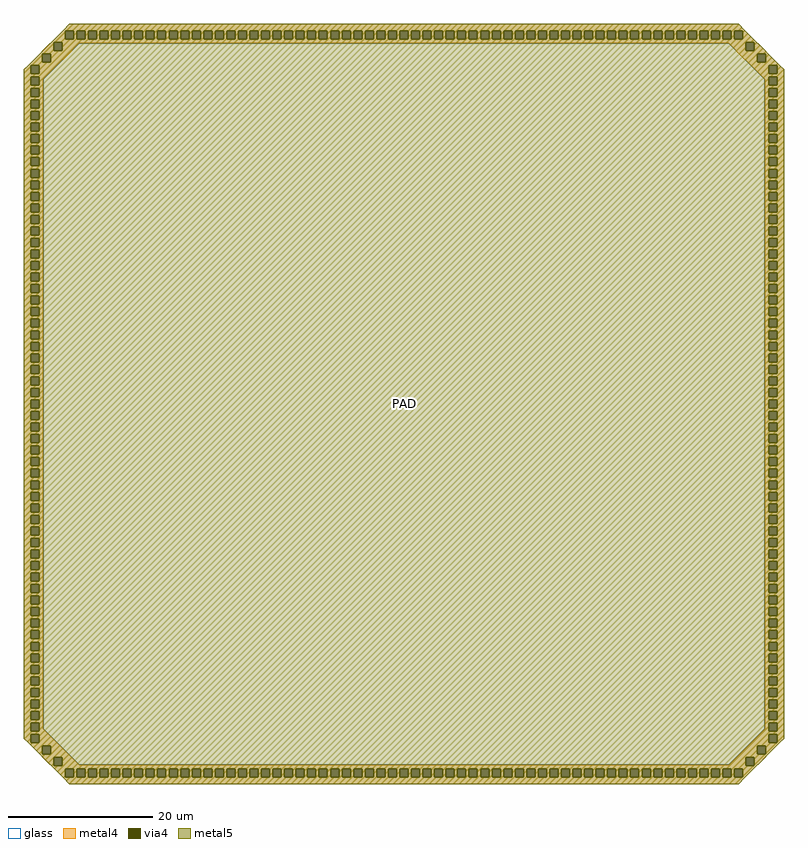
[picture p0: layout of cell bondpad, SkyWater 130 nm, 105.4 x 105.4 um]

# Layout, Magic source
magic
tech sky130A
<< metal4 >>
tri 269 10179 360 10270 se
rect 360 10179 9640 10270
tri 9640 10179 9731 10270 sw
tri 135 10045 269 10179 se
rect 269 10061 301 10179
rect 419 10061 461 10179
rect 579 10061 621 10179
rect 739 10061 781 10179
rect 899 10061 941 10179
rect 1059 10061 1101 10179
rect 1219 10061 1261 10179
rect 1379 10061 1421 10179
rect 1539 10061 1581 10179
rect 1699 10061 1741 10179
rect 1859 10061 1901 10179
rect 2019 10061 2061 10179
rect 2179 10061 2221 10179
rect 2339 10061 2381 10179
rect 2499 10061 2541 10179
rect 2659 10061 2701 10179
rect 2819 10061 2861 10179
rect 2979 10061 3021 10179
rect 3139 10061 3181 10179
rect 3299 10061 3341 10179
rect 3459 10061 3501 10179
rect 3619 10061 3661 10179
rect 3779 10061 3821 10179
rect 3939 10061 3981 10179
rect 4099 10061 4141 10179
rect 4259 10061 4301 10179
rect 4419 10061 4461 10179
rect 4579 10061 4621 10179
rect 4739 10061 4781 10179
rect 4899 10061 4941 10179
rect 5059 10061 5101 10179
rect 5219 10061 5261 10179
rect 5379 10061 5421 10179
rect 5539 10061 5581 10179
rect 5699 10061 5741 10179
rect 5859 10061 5901 10179
rect 6019 10061 6061 10179
rect 6179 10061 6221 10179
rect 6339 10061 6381 10179
rect 6499 10061 6541 10179
rect 6659 10061 6701 10179
rect 6819 10061 6861 10179
rect 6979 10061 7021 10179
rect 7139 10061 7181 10179
rect 7299 10061 7341 10179
rect 7459 10061 7501 10179
rect 7619 10061 7661 10179
rect 7779 10061 7821 10179
rect 7939 10061 7981 10179
rect 8099 10061 8141 10179
rect 8259 10061 8301 10179
rect 8419 10061 8461 10179
rect 8579 10061 8621 10179
rect 8739 10061 8781 10179
rect 8899 10061 8941 10179
rect 9059 10061 9101 10179
rect 9219 10061 9261 10179
rect 9379 10061 9421 10179
rect 9539 10061 9581 10179
rect 9699 10061 9731 10179
rect 269 10045 9731 10061
tri 9731 10045 9865 10179 sw
tri -51 9859 135 10045 se
rect 135 10019 9865 10045
rect 135 9901 141 10019
rect 259 10000 9741 10019
rect 259 9910 405 10000
tri 405 9910 495 10000 nw
tri 9505 9910 9595 10000 ne
rect 9595 9910 9741 10000
rect 259 9901 396 9910
tri 396 9901 405 9910 nw
tri 9595 9901 9604 9910 ne
rect 9604 9901 9741 9910
rect 9859 9910 9865 10019
tri 9865 9910 10000 10045 sw
rect 9859 9901 10000 9910
tri -211 9699 -51 9859 se
rect -51 9741 -19 9859
rect 99 9741 135 9859
rect -51 9699 135 9741
tri -270 9640 -211 9699 se
rect -211 9640 -179 9699
rect -270 9581 -179 9640
rect -61 9640 135 9699
tri 135 9640 396 9901 nw
tri 9604 9640 9865 9901 ne
rect 9865 9859 10000 9901
tri 10000 9859 10051 9910 sw
rect 9865 9741 9901 9859
rect 10019 9741 10051 9859
rect 9865 9699 10051 9741
tri 10051 9699 10211 9859 sw
rect 9865 9640 10061 9699
rect -61 9581 0 9640
rect -270 9539 0 9581
rect -270 9421 -179 9539
rect -61 9421 0 9539
tri 0 9505 135 9640 nw
tri 9865 9505 10000 9640 ne
rect 10000 9581 10061 9640
rect 10179 9640 10211 9699
tri 10211 9640 10270 9699 sw
rect 10179 9581 10270 9640
rect 10000 9539 10270 9581
rect -270 9379 0 9421
rect -270 9261 -179 9379
rect -61 9261 0 9379
rect -270 9219 0 9261
rect -270 9101 -179 9219
rect -61 9101 0 9219
rect -270 9059 0 9101
rect -270 8941 -179 9059
rect -61 8941 0 9059
rect -270 8899 0 8941
rect -270 8781 -179 8899
rect -61 8781 0 8899
rect -270 8739 0 8781
rect -270 8621 -179 8739
rect -61 8621 0 8739
rect -270 8579 0 8621
rect -270 8461 -179 8579
rect -61 8461 0 8579
rect -270 8419 0 8461
rect -270 8301 -179 8419
rect -61 8301 0 8419
rect -270 8259 0 8301
rect -270 8141 -179 8259
rect -61 8141 0 8259
rect -270 8099 0 8141
rect -270 7981 -179 8099
rect -61 7981 0 8099
rect -270 7939 0 7981
rect -270 7821 -179 7939
rect -61 7821 0 7939
rect -270 7779 0 7821
rect -270 7661 -179 7779
rect -61 7661 0 7779
rect -270 7619 0 7661
rect -270 7501 -179 7619
rect -61 7501 0 7619
rect -270 7459 0 7501
rect -270 7341 -179 7459
rect -61 7341 0 7459
rect -270 7299 0 7341
rect -270 7181 -179 7299
rect -61 7181 0 7299
rect -270 7139 0 7181
rect -270 7021 -179 7139
rect -61 7021 0 7139
rect -270 6979 0 7021
rect -270 6861 -179 6979
rect -61 6861 0 6979
rect -270 6819 0 6861
rect -270 6701 -179 6819
rect -61 6701 0 6819
rect -270 6659 0 6701
rect -270 6541 -179 6659
rect -61 6541 0 6659
rect -270 6499 0 6541
rect -270 6381 -179 6499
rect -61 6381 0 6499
rect -270 6339 0 6381
rect -270 6221 -179 6339
rect -61 6221 0 6339
rect -270 6179 0 6221
rect -270 6061 -179 6179
rect -61 6061 0 6179
rect -270 6019 0 6061
rect -270 5901 -179 6019
rect -61 5901 0 6019
rect -270 5859 0 5901
rect -270 5741 -179 5859
rect -61 5741 0 5859
rect -270 5699 0 5741
rect -270 5581 -179 5699
rect -61 5581 0 5699
rect -270 5539 0 5581
rect -270 5421 -179 5539
rect -61 5421 0 5539
rect -270 5379 0 5421
rect -270 5261 -179 5379
rect -61 5261 0 5379
rect -270 5219 0 5261
rect -270 5101 -179 5219
rect -61 5101 0 5219
rect -270 5059 0 5101
rect -270 4941 -179 5059
rect -61 4941 0 5059
rect -270 4899 0 4941
rect -270 4781 -179 4899
rect -61 4781 0 4899
rect -270 4739 0 4781
rect -270 4621 -179 4739
rect -61 4621 0 4739
rect -270 4579 0 4621
rect -270 4461 -179 4579
rect -61 4461 0 4579
rect -270 4419 0 4461
rect -270 4301 -179 4419
rect -61 4301 0 4419
rect -270 4259 0 4301
rect -270 4141 -179 4259
rect -61 4141 0 4259
rect -270 4099 0 4141
rect -270 3981 -179 4099
rect -61 3981 0 4099
rect -270 3939 0 3981
rect -270 3821 -179 3939
rect -61 3821 0 3939
rect -270 3779 0 3821
rect -270 3661 -179 3779
rect -61 3661 0 3779
rect -270 3619 0 3661
rect -270 3501 -179 3619
rect -61 3501 0 3619
rect -270 3459 0 3501
rect -270 3341 -179 3459
rect -61 3341 0 3459
rect -270 3299 0 3341
rect -270 3181 -179 3299
rect -61 3181 0 3299
rect -270 3139 0 3181
rect -270 3021 -179 3139
rect -61 3021 0 3139
rect -270 2979 0 3021
rect -270 2861 -179 2979
rect -61 2861 0 2979
rect -270 2819 0 2861
rect -270 2701 -179 2819
rect -61 2701 0 2819
rect -270 2659 0 2701
rect -270 2541 -179 2659
rect -61 2541 0 2659
rect -270 2499 0 2541
rect -270 2381 -179 2499
rect -61 2381 0 2499
rect -270 2339 0 2381
rect -270 2221 -179 2339
rect -61 2221 0 2339
rect -270 2179 0 2221
rect -270 2061 -179 2179
rect -61 2061 0 2179
rect -270 2019 0 2061
rect -270 1901 -179 2019
rect -61 1901 0 2019
rect -270 1859 0 1901
rect -270 1741 -179 1859
rect -61 1741 0 1859
rect -270 1699 0 1741
rect -270 1581 -179 1699
rect -61 1581 0 1699
rect -270 1539 0 1581
rect -270 1421 -179 1539
rect -61 1421 0 1539
rect -270 1379 0 1421
rect -270 1261 -179 1379
rect -61 1261 0 1379
rect -270 1219 0 1261
rect -270 1101 -179 1219
rect -61 1101 0 1219
rect -270 1059 0 1101
rect -270 941 -179 1059
rect -61 941 0 1059
rect -270 899 0 941
rect -270 781 -179 899
rect -61 781 0 899
rect -270 739 0 781
rect -270 621 -179 739
rect -61 621 0 739
rect -270 579 0 621
rect -270 461 -179 579
rect -61 461 0 579
rect 10000 9421 10061 9539
rect 10179 9421 10270 9539
rect 10000 9379 10270 9421
rect 10000 9261 10061 9379
rect 10179 9261 10270 9379
rect 10000 9219 10270 9261
rect 10000 9101 10061 9219
rect 10179 9101 10270 9219
rect 10000 9059 10270 9101
rect 10000 8941 10061 9059
rect 10179 8941 10270 9059
rect 10000 8899 10270 8941
rect 10000 8781 10061 8899
rect 10179 8781 10270 8899
rect 10000 8739 10270 8781
rect 10000 8621 10061 8739
rect 10179 8621 10270 8739
rect 10000 8579 10270 8621
rect 10000 8461 10061 8579
rect 10179 8461 10270 8579
rect 10000 8419 10270 8461
rect 10000 8301 10061 8419
rect 10179 8301 10270 8419
rect 10000 8259 10270 8301
rect 10000 8141 10061 8259
rect 10179 8141 10270 8259
rect 10000 8099 10270 8141
rect 10000 7981 10061 8099
rect 10179 7981 10270 8099
rect 10000 7939 10270 7981
rect 10000 7821 10061 7939
rect 10179 7821 10270 7939
rect 10000 7779 10270 7821
rect 10000 7661 10061 7779
rect 10179 7661 10270 7779
rect 10000 7619 10270 7661
rect 10000 7501 10061 7619
rect 10179 7501 10270 7619
rect 10000 7459 10270 7501
rect 10000 7341 10061 7459
rect 10179 7341 10270 7459
rect 10000 7299 10270 7341
rect 10000 7181 10061 7299
rect 10179 7181 10270 7299
rect 10000 7139 10270 7181
rect 10000 7021 10061 7139
rect 10179 7021 10270 7139
rect 10000 6979 10270 7021
rect 10000 6861 10061 6979
rect 10179 6861 10270 6979
rect 10000 6819 10270 6861
rect 10000 6701 10061 6819
rect 10179 6701 10270 6819
rect 10000 6659 10270 6701
rect 10000 6541 10061 6659
rect 10179 6541 10270 6659
rect 10000 6499 10270 6541
rect 10000 6381 10061 6499
rect 10179 6381 10270 6499
rect 10000 6339 10270 6381
rect 10000 6221 10061 6339
rect 10179 6221 10270 6339
rect 10000 6179 10270 6221
rect 10000 6061 10061 6179
rect 10179 6061 10270 6179
rect 10000 6019 10270 6061
rect 10000 5901 10061 6019
rect 10179 5901 10270 6019
rect 10000 5859 10270 5901
rect 10000 5741 10061 5859
rect 10179 5741 10270 5859
rect 10000 5699 10270 5741
rect 10000 5581 10061 5699
rect 10179 5581 10270 5699
rect 10000 5539 10270 5581
rect 10000 5421 10061 5539
rect 10179 5421 10270 5539
rect 10000 5379 10270 5421
rect 10000 5261 10061 5379
rect 10179 5261 10270 5379
rect 10000 5219 10270 5261
rect 10000 5101 10061 5219
rect 10179 5101 10270 5219
rect 10000 5059 10270 5101
rect 10000 4941 10061 5059
rect 10179 4941 10270 5059
rect 10000 4899 10270 4941
rect 10000 4781 10061 4899
rect 10179 4781 10270 4899
rect 10000 4739 10270 4781
rect 10000 4621 10061 4739
rect 10179 4621 10270 4739
rect 10000 4579 10270 4621
rect 10000 4461 10061 4579
rect 10179 4461 10270 4579
rect 10000 4419 10270 4461
rect 10000 4301 10061 4419
rect 10179 4301 10270 4419
rect 10000 4259 10270 4301
rect 10000 4141 10061 4259
rect 10179 4141 10270 4259
rect 10000 4099 10270 4141
rect 10000 3981 10061 4099
rect 10179 3981 10270 4099
rect 10000 3939 10270 3981
rect 10000 3821 10061 3939
rect 10179 3821 10270 3939
rect 10000 3779 10270 3821
rect 10000 3661 10061 3779
rect 10179 3661 10270 3779
rect 10000 3619 10270 3661
rect 10000 3501 10061 3619
rect 10179 3501 10270 3619
rect 10000 3459 10270 3501
rect 10000 3341 10061 3459
rect 10179 3341 10270 3459
rect 10000 3299 10270 3341
rect 10000 3181 10061 3299
rect 10179 3181 10270 3299
rect 10000 3139 10270 3181
rect 10000 3021 10061 3139
rect 10179 3021 10270 3139
rect 10000 2979 10270 3021
rect 10000 2861 10061 2979
rect 10179 2861 10270 2979
rect 10000 2819 10270 2861
rect 10000 2701 10061 2819
rect 10179 2701 10270 2819
rect 10000 2659 10270 2701
rect 10000 2541 10061 2659
rect 10179 2541 10270 2659
rect 10000 2499 10270 2541
rect 10000 2381 10061 2499
rect 10179 2381 10270 2499
rect 10000 2339 10270 2381
rect 10000 2221 10061 2339
rect 10179 2221 10270 2339
rect 10000 2179 10270 2221
rect 10000 2061 10061 2179
rect 10179 2061 10270 2179
rect 10000 2019 10270 2061
rect 10000 1901 10061 2019
rect 10179 1901 10270 2019
rect 10000 1859 10270 1901
rect 10000 1741 10061 1859
rect 10179 1741 10270 1859
rect 10000 1699 10270 1741
rect 10000 1581 10061 1699
rect 10179 1581 10270 1699
rect 10000 1539 10270 1581
rect 10000 1421 10061 1539
rect 10179 1421 10270 1539
rect 10000 1379 10270 1421
rect 10000 1261 10061 1379
rect 10179 1261 10270 1379
rect 10000 1219 10270 1261
rect 10000 1101 10061 1219
rect 10179 1101 10270 1219
rect 10000 1059 10270 1101
rect 10000 941 10061 1059
rect 10179 941 10270 1059
rect 10000 899 10270 941
rect 10000 781 10061 899
rect 10179 781 10270 899
rect 10000 739 10270 781
rect 10000 621 10061 739
rect 10179 621 10270 739
rect 10000 579 10270 621
rect -270 419 0 461
rect -270 360 -179 419
tri -270 301 -211 360 ne
rect -211 301 -179 360
rect -61 360 0 419
tri 0 360 135 495 sw
tri 9910 405 10000 495 se
rect 10000 461 10061 579
rect 10179 461 10270 579
rect 10000 419 10270 461
rect 10000 405 10061 419
tri 9865 360 9910 405 se
rect 9910 360 10061 405
rect -61 301 135 360
tri -211 135 -45 301 ne
rect -45 259 135 301
rect -45 141 -19 259
rect 99 141 135 259
rect -45 135 135 141
tri 135 135 360 360 sw
tri 9640 135 9865 360 se
rect 9865 301 10061 360
rect 10179 360 10270 419
rect 10179 301 10211 360
tri 10211 301 10270 360 nw
rect 9865 259 10169 301
tri 10169 259 10211 301 nw
rect 9865 141 9901 259
rect 10019 141 10051 259
tri 10051 141 10169 259 nw
rect 9865 135 9910 141
tri -45 99 -9 135 ne
rect -9 99 360 135
tri -9 -19 109 99 ne
rect 109 -19 141 99
rect 259 0 360 99
tri 360 0 495 135 sw
tri 9505 0 9640 135 se
rect 9640 99 9910 135
rect 9640 0 9741 99
rect 259 -19 9741 0
rect 9859 0 9910 99
tri 9910 0 10051 141 nw
rect 9859 -19 9891 0
tri 9891 -19 9910 0 nw
tri 109 -61 151 -19 ne
rect 151 -61 9849 -19
tri 9849 -61 9891 -19 nw
tri 151 -179 269 -61 ne
rect 269 -179 301 -61
rect 419 -179 461 -61
rect 579 -179 621 -61
rect 739 -179 781 -61
rect 899 -179 941 -61
rect 1059 -179 1101 -61
rect 1219 -179 1261 -61
rect 1379 -179 1421 -61
rect 1539 -179 1581 -61
rect 1699 -179 1741 -61
rect 1859 -179 1901 -61
rect 2019 -179 2061 -61
rect 2179 -179 2221 -61
rect 2339 -179 2381 -61
rect 2499 -179 2541 -61
rect 2659 -179 2701 -61
rect 2819 -179 2861 -61
rect 2979 -179 3021 -61
rect 3139 -179 3181 -61
rect 3299 -179 3341 -61
rect 3459 -179 3501 -61
rect 3619 -179 3661 -61
rect 3779 -179 3821 -61
rect 3939 -179 3981 -61
rect 4099 -179 4141 -61
rect 4259 -179 4301 -61
rect 4419 -179 4461 -61
rect 4579 -179 4621 -61
rect 4739 -179 4781 -61
rect 4899 -179 4941 -61
rect 5059 -179 5101 -61
rect 5219 -179 5261 -61
rect 5379 -179 5421 -61
rect 5539 -179 5581 -61
rect 5699 -179 5741 -61
rect 5859 -179 5901 -61
rect 6019 -179 6061 -61
rect 6179 -179 6221 -61
rect 6339 -179 6381 -61
rect 6499 -179 6541 -61
rect 6659 -179 6701 -61
rect 6819 -179 6861 -61
rect 6979 -179 7021 -61
rect 7139 -179 7181 -61
rect 7299 -179 7341 -61
rect 7459 -179 7501 -61
rect 7619 -179 7661 -61
rect 7779 -179 7821 -61
rect 7939 -179 7981 -61
rect 8099 -179 8141 -61
rect 8259 -179 8301 -61
rect 8419 -179 8461 -61
rect 8579 -179 8621 -61
rect 8739 -179 8781 -61
rect 8899 -179 8941 -61
rect 9059 -179 9101 -61
rect 9219 -179 9261 -61
rect 9379 -179 9421 -61
rect 9539 -179 9581 -61
rect 9699 -179 9731 -61
tri 9731 -179 9849 -61 nw
tri 269 -270 360 -179 ne
rect 360 -270 9640 -179
tri 9640 -270 9731 -179 nw
<< via4 >>
rect 301 10061 419 10179
rect 461 10061 579 10179
rect 621 10061 739 10179
rect 781 10061 899 10179
rect 941 10061 1059 10179
rect 1101 10061 1219 10179
rect 1261 10061 1379 10179
rect 1421 10061 1539 10179
rect 1581 10061 1699 10179
rect 1741 10061 1859 10179
rect 1901 10061 2019 10179
rect 2061 10061 2179 10179
rect 2221 10061 2339 10179
rect 2381 10061 2499 10179
rect 2541 10061 2659 10179
rect 2701 10061 2819 10179
rect 2861 10061 2979 10179
rect 3021 10061 3139 10179
rect 3181 10061 3299 10179
rect 3341 10061 3459 10179
rect 3501 10061 3619 10179
rect 3661 10061 3779 10179
rect 3821 10061 3939 10179
rect 3981 10061 4099 10179
rect 4141 10061 4259 10179
rect 4301 10061 4419 10179
rect 4461 10061 4579 10179
rect 4621 10061 4739 10179
rect 4781 10061 4899 10179
rect 4941 10061 5059 10179
rect 5101 10061 5219 10179
rect 5261 10061 5379 10179
rect 5421 10061 5539 10179
rect 5581 10061 5699 10179
rect 5741 10061 5859 10179
rect 5901 10061 6019 10179
rect 6061 10061 6179 10179
rect 6221 10061 6339 10179
rect 6381 10061 6499 10179
rect 6541 10061 6659 10179
rect 6701 10061 6819 10179
rect 6861 10061 6979 10179
rect 7021 10061 7139 10179
rect 7181 10061 7299 10179
rect 7341 10061 7459 10179
rect 7501 10061 7619 10179
rect 7661 10061 7779 10179
rect 7821 10061 7939 10179
rect 7981 10061 8099 10179
rect 8141 10061 8259 10179
rect 8301 10061 8419 10179
rect 8461 10061 8579 10179
rect 8621 10061 8739 10179
rect 8781 10061 8899 10179
rect 8941 10061 9059 10179
rect 9101 10061 9219 10179
rect 9261 10061 9379 10179
rect 9421 10061 9539 10179
rect 9581 10061 9699 10179
rect 141 9901 259 10019
rect 9741 9901 9859 10019
rect -19 9741 99 9859
rect -179 9581 -61 9699
rect 9901 9741 10019 9859
rect -179 9421 -61 9539
rect 10061 9581 10179 9699
rect -179 9261 -61 9379
rect -179 9101 -61 9219
rect -179 8941 -61 9059
rect -179 8781 -61 8899
rect -179 8621 -61 8739
rect -179 8461 -61 8579
rect -179 8301 -61 8419
rect -179 8141 -61 8259
rect -179 7981 -61 8099
rect -179 7821 -61 7939
rect -179 7661 -61 7779
rect -179 7501 -61 7619
rect -179 7341 -61 7459
rect -179 7181 -61 7299
rect -179 7021 -61 7139
rect -179 6861 -61 6979
rect -179 6701 -61 6819
rect -179 6541 -61 6659
rect -179 6381 -61 6499
rect -179 6221 -61 6339
rect -179 6061 -61 6179
rect -179 5901 -61 6019
rect -179 5741 -61 5859
rect -179 5581 -61 5699
rect -179 5421 -61 5539
rect -179 5261 -61 5379
rect -179 5101 -61 5219
rect -179 4941 -61 5059
rect -179 4781 -61 4899
rect -179 4621 -61 4739
rect -179 4461 -61 4579
rect -179 4301 -61 4419
rect -179 4141 -61 4259
rect -179 3981 -61 4099
rect -179 3821 -61 3939
rect -179 3661 -61 3779
rect -179 3501 -61 3619
rect -179 3341 -61 3459
rect -179 3181 -61 3299
rect -179 3021 -61 3139
rect -179 2861 -61 2979
rect -179 2701 -61 2819
rect -179 2541 -61 2659
rect -179 2381 -61 2499
rect -179 2221 -61 2339
rect -179 2061 -61 2179
rect -179 1901 -61 2019
rect -179 1741 -61 1859
rect -179 1581 -61 1699
rect -179 1421 -61 1539
rect -179 1261 -61 1379
rect -179 1101 -61 1219
rect -179 941 -61 1059
rect -179 781 -61 899
rect -179 621 -61 739
rect -179 461 -61 579
rect 10061 9421 10179 9539
rect 10061 9261 10179 9379
rect 10061 9101 10179 9219
rect 10061 8941 10179 9059
rect 10061 8781 10179 8899
rect 10061 8621 10179 8739
rect 10061 8461 10179 8579
rect 10061 8301 10179 8419
rect 10061 8141 10179 8259
rect 10061 7981 10179 8099
rect 10061 7821 10179 7939
rect 10061 7661 10179 7779
rect 10061 7501 10179 7619
rect 10061 7341 10179 7459
rect 10061 7181 10179 7299
rect 10061 7021 10179 7139
rect 10061 6861 10179 6979
rect 10061 6701 10179 6819
rect 10061 6541 10179 6659
rect 10061 6381 10179 6499
rect 10061 6221 10179 6339
rect 10061 6061 10179 6179
rect 10061 5901 10179 6019
rect 10061 5741 10179 5859
rect 10061 5581 10179 5699
rect 10061 5421 10179 5539
rect 10061 5261 10179 5379
rect 10061 5101 10179 5219
rect 10061 4941 10179 5059
rect 10061 4781 10179 4899
rect 10061 4621 10179 4739
rect 10061 4461 10179 4579
rect 10061 4301 10179 4419
rect 10061 4141 10179 4259
rect 10061 3981 10179 4099
rect 10061 3821 10179 3939
rect 10061 3661 10179 3779
rect 10061 3501 10179 3619
rect 10061 3341 10179 3459
rect 10061 3181 10179 3299
rect 10061 3021 10179 3139
rect 10061 2861 10179 2979
rect 10061 2701 10179 2819
rect 10061 2541 10179 2659
rect 10061 2381 10179 2499
rect 10061 2221 10179 2339
rect 10061 2061 10179 2179
rect 10061 1901 10179 2019
rect 10061 1741 10179 1859
rect 10061 1581 10179 1699
rect 10061 1421 10179 1539
rect 10061 1261 10179 1379
rect 10061 1101 10179 1219
rect 10061 941 10179 1059
rect 10061 781 10179 899
rect 10061 621 10179 739
rect -179 301 -61 419
rect 10061 461 10179 579
rect -19 141 99 259
rect 10061 301 10179 419
rect 9901 141 10019 259
rect 141 -19 259 99
rect 9741 -19 9859 99
rect 301 -179 419 -61
rect 461 -179 579 -61
rect 621 -179 739 -61
rect 781 -179 899 -61
rect 941 -179 1059 -61
rect 1101 -179 1219 -61
rect 1261 -179 1379 -61
rect 1421 -179 1539 -61
rect 1581 -179 1699 -61
rect 1741 -179 1859 -61
rect 1901 -179 2019 -61
rect 2061 -179 2179 -61
rect 2221 -179 2339 -61
rect 2381 -179 2499 -61
rect 2541 -179 2659 -61
rect 2701 -179 2819 -61
rect 2861 -179 2979 -61
rect 3021 -179 3139 -61
rect 3181 -179 3299 -61
rect 3341 -179 3459 -61
rect 3501 -179 3619 -61
rect 3661 -179 3779 -61
rect 3821 -179 3939 -61
rect 3981 -179 4099 -61
rect 4141 -179 4259 -61
rect 4301 -179 4419 -61
rect 4461 -179 4579 -61
rect 4621 -179 4739 -61
rect 4781 -179 4899 -61
rect 4941 -179 5059 -61
rect 5101 -179 5219 -61
rect 5261 -179 5379 -61
rect 5421 -179 5539 -61
rect 5581 -179 5699 -61
rect 5741 -179 5859 -61
rect 5901 -179 6019 -61
rect 6061 -179 6179 -61
rect 6221 -179 6339 -61
rect 6381 -179 6499 -61
rect 6541 -179 6659 -61
rect 6701 -179 6819 -61
rect 6861 -179 6979 -61
rect 7021 -179 7139 -61
rect 7181 -179 7299 -61
rect 7341 -179 7459 -61
rect 7501 -179 7619 -61
rect 7661 -179 7779 -61
rect 7821 -179 7939 -61
rect 7981 -179 8099 -61
rect 8141 -179 8259 -61
rect 8301 -179 8419 -61
rect 8461 -179 8579 -61
rect 8621 -179 8739 -61
rect 8781 -179 8899 -61
rect 8941 -179 9059 -61
rect 9101 -179 9219 -61
rect 9261 -179 9379 -61
rect 9421 -179 9539 -61
rect 9581 -179 9699 -61
<< metal5 >>
tri 269 10179 360 10270 se
rect 360 10179 9640 10270
tri 9640 10179 9731 10270 sw
tri 109 10019 269 10179 se
rect 269 10061 301 10179
rect 419 10061 461 10179
rect 579 10061 621 10179
rect 739 10061 781 10179
rect 899 10061 941 10179
rect 1059 10061 1101 10179
rect 1219 10061 1261 10179
rect 1379 10061 1421 10179
rect 1539 10061 1581 10179
rect 1699 10061 1741 10179
rect 1859 10061 1901 10179
rect 2019 10061 2061 10179
rect 2179 10061 2221 10179
rect 2339 10061 2381 10179
rect 2499 10061 2541 10179
rect 2659 10061 2701 10179
rect 2819 10061 2861 10179
rect 2979 10061 3021 10179
rect 3139 10061 3181 10179
rect 3299 10061 3341 10179
rect 3459 10061 3501 10179
rect 3619 10061 3661 10179
rect 3779 10061 3821 10179
rect 3939 10061 3981 10179
rect 4099 10061 4141 10179
rect 4259 10061 4301 10179
rect 4419 10061 4461 10179
rect 4579 10061 4621 10179
rect 4739 10061 4781 10179
rect 4899 10061 4941 10179
rect 5059 10061 5101 10179
rect 5219 10061 5261 10179
rect 5379 10061 5421 10179
rect 5539 10061 5581 10179
rect 5699 10061 5741 10179
rect 5859 10061 5901 10179
rect 6019 10061 6061 10179
rect 6179 10061 6221 10179
rect 6339 10061 6381 10179
rect 6499 10061 6541 10179
rect 6659 10061 6701 10179
rect 6819 10061 6861 10179
rect 6979 10061 7021 10179
rect 7139 10061 7181 10179
rect 7299 10061 7341 10179
rect 7459 10061 7501 10179
rect 7619 10061 7661 10179
rect 7779 10061 7821 10179
rect 7939 10061 7981 10179
rect 8099 10061 8141 10179
rect 8259 10061 8301 10179
rect 8419 10061 8461 10179
rect 8579 10061 8621 10179
rect 8739 10061 8781 10179
rect 8899 10061 8941 10179
rect 9059 10061 9101 10179
rect 9219 10061 9261 10179
rect 9379 10061 9421 10179
rect 9539 10061 9581 10179
rect 9699 10061 9731 10179
rect 269 10019 9731 10061
tri 9731 10019 9891 10179 sw
tri 90 10000 109 10019 se
rect 109 10000 141 10019
tri 0 9910 90 10000 se
rect 90 9910 141 10000
tri -51 9859 0 9910 se
rect 0 9901 141 9910
rect 259 9901 9741 10019
rect 9859 10000 9891 10019
tri 9891 10000 9910 10019 sw
rect 9859 9910 9910 10000
tri 9910 9910 10000 10000 sw
rect 9859 9901 10000 9910
rect 0 9859 10000 9901
tri 10000 9859 10051 9910 sw
tri -211 9699 -51 9859 se
rect -51 9741 -19 9859
rect 99 9741 9901 9859
rect 10019 9741 10051 9859
rect -51 9699 10051 9741
tri 10051 9699 10211 9859 sw
tri -270 9640 -211 9699 se
rect -211 9640 -179 9699
rect -270 9581 -179 9640
rect -61 9581 10061 9699
rect 10179 9640 10211 9699
tri 10211 9640 10270 9699 sw
rect 10179 9581 10270 9640
rect -270 9539 10270 9581
rect -270 9421 -179 9539
rect -61 9421 10061 9539
rect 10179 9421 10270 9539
rect -270 9379 10270 9421
rect -270 9261 -179 9379
rect -61 9261 10061 9379
rect 10179 9261 10270 9379
rect -270 9219 10270 9261
rect -270 9101 -179 9219
rect -61 9101 10061 9219
rect 10179 9101 10270 9219
rect -270 9059 10270 9101
rect -270 8941 -179 9059
rect -61 8941 10061 9059
rect 10179 8941 10270 9059
rect -270 8899 10270 8941
rect -270 8781 -179 8899
rect -61 8781 10061 8899
rect 10179 8781 10270 8899
rect -270 8739 10270 8781
rect -270 8621 -179 8739
rect -61 8621 10061 8739
rect 10179 8621 10270 8739
rect -270 8579 10270 8621
rect -270 8461 -179 8579
rect -61 8461 10061 8579
rect 10179 8461 10270 8579
rect -270 8419 10270 8461
rect -270 8301 -179 8419
rect -61 8301 10061 8419
rect 10179 8301 10270 8419
rect -270 8259 10270 8301
rect -270 8141 -179 8259
rect -61 8141 10061 8259
rect 10179 8141 10270 8259
rect -270 8099 10270 8141
rect -270 7981 -179 8099
rect -61 7981 10061 8099
rect 10179 7981 10270 8099
rect -270 7939 10270 7981
rect -270 7821 -179 7939
rect -61 7821 10061 7939
rect 10179 7821 10270 7939
rect -270 7779 10270 7821
rect -270 7661 -179 7779
rect -61 7661 10061 7779
rect 10179 7661 10270 7779
rect -270 7619 10270 7661
rect -270 7501 -179 7619
rect -61 7501 10061 7619
rect 10179 7501 10270 7619
rect -270 7459 10270 7501
rect -270 7341 -179 7459
rect -61 7341 10061 7459
rect 10179 7341 10270 7459
rect -270 7299 10270 7341
rect -270 7181 -179 7299
rect -61 7181 10061 7299
rect 10179 7181 10270 7299
rect -270 7139 10270 7181
rect -270 7021 -179 7139
rect -61 7021 10061 7139
rect 10179 7021 10270 7139
rect -270 6979 10270 7021
rect -270 6861 -179 6979
rect -61 6861 10061 6979
rect 10179 6861 10270 6979
rect -270 6819 10270 6861
rect -270 6701 -179 6819
rect -61 6701 10061 6819
rect 10179 6701 10270 6819
rect -270 6659 10270 6701
rect -270 6541 -179 6659
rect -61 6541 10061 6659
rect 10179 6541 10270 6659
rect -270 6499 10270 6541
rect -270 6381 -179 6499
rect -61 6381 10061 6499
rect 10179 6381 10270 6499
rect -270 6339 10270 6381
rect -270 6221 -179 6339
rect -61 6221 10061 6339
rect 10179 6221 10270 6339
rect -270 6179 10270 6221
rect -270 6061 -179 6179
rect -61 6061 10061 6179
rect 10179 6061 10270 6179
rect -270 6019 10270 6061
rect -270 5901 -179 6019
rect -61 5901 10061 6019
rect 10179 5901 10270 6019
rect -270 5859 10270 5901
rect -270 5741 -179 5859
rect -61 5741 10061 5859
rect 10179 5741 10270 5859
rect -270 5699 10270 5741
rect -270 5581 -179 5699
rect -61 5581 10061 5699
rect 10179 5581 10270 5699
rect -270 5539 10270 5581
rect -270 5421 -179 5539
rect -61 5421 10061 5539
rect 10179 5421 10270 5539
rect -270 5379 10270 5421
rect -270 5261 -179 5379
rect -61 5261 10061 5379
rect 10179 5261 10270 5379
rect -270 5219 10270 5261
rect -270 5101 -179 5219
rect -61 5101 10061 5219
rect 10179 5101 10270 5219
rect -270 5059 10270 5101
rect -270 4941 -179 5059
rect -61 4941 10061 5059
rect 10179 4941 10270 5059
rect -270 4899 10270 4941
rect -270 4781 -179 4899
rect -61 4781 10061 4899
rect 10179 4781 10270 4899
rect -270 4739 10270 4781
rect -270 4621 -179 4739
rect -61 4621 10061 4739
rect 10179 4621 10270 4739
rect -270 4579 10270 4621
rect -270 4461 -179 4579
rect -61 4461 10061 4579
rect 10179 4461 10270 4579
rect -270 4419 10270 4461
rect -270 4301 -179 4419
rect -61 4301 10061 4419
rect 10179 4301 10270 4419
rect -270 4259 10270 4301
rect -270 4141 -179 4259
rect -61 4141 10061 4259
rect 10179 4141 10270 4259
rect -270 4099 10270 4141
rect -270 3981 -179 4099
rect -61 3981 10061 4099
rect 10179 3981 10270 4099
rect -270 3939 10270 3981
rect -270 3821 -179 3939
rect -61 3821 10061 3939
rect 10179 3821 10270 3939
rect -270 3779 10270 3821
rect -270 3661 -179 3779
rect -61 3661 10061 3779
rect 10179 3661 10270 3779
rect -270 3619 10270 3661
rect -270 3501 -179 3619
rect -61 3501 10061 3619
rect 10179 3501 10270 3619
rect -270 3459 10270 3501
rect -270 3341 -179 3459
rect -61 3341 10061 3459
rect 10179 3341 10270 3459
rect -270 3299 10270 3341
rect -270 3181 -179 3299
rect -61 3181 10061 3299
rect 10179 3181 10270 3299
rect -270 3139 10270 3181
rect -270 3021 -179 3139
rect -61 3021 10061 3139
rect 10179 3021 10270 3139
rect -270 2979 10270 3021
rect -270 2861 -179 2979
rect -61 2861 10061 2979
rect 10179 2861 10270 2979
rect -270 2819 10270 2861
rect -270 2701 -179 2819
rect -61 2701 10061 2819
rect 10179 2701 10270 2819
rect -270 2659 10270 2701
rect -270 2541 -179 2659
rect -61 2541 10061 2659
rect 10179 2541 10270 2659
rect -270 2499 10270 2541
rect -270 2381 -179 2499
rect -61 2381 10061 2499
rect 10179 2381 10270 2499
rect -270 2339 10270 2381
rect -270 2221 -179 2339
rect -61 2221 10061 2339
rect 10179 2221 10270 2339
rect -270 2179 10270 2221
rect -270 2061 -179 2179
rect -61 2061 10061 2179
rect 10179 2061 10270 2179
rect -270 2019 10270 2061
rect -270 1901 -179 2019
rect -61 1901 10061 2019
rect 10179 1901 10270 2019
rect -270 1859 10270 1901
rect -270 1741 -179 1859
rect -61 1741 10061 1859
rect 10179 1741 10270 1859
rect -270 1699 10270 1741
rect -270 1581 -179 1699
rect -61 1581 10061 1699
rect 10179 1581 10270 1699
rect -270 1539 10270 1581
rect -270 1421 -179 1539
rect -61 1421 10061 1539
rect 10179 1421 10270 1539
rect -270 1379 10270 1421
rect -270 1261 -179 1379
rect -61 1261 10061 1379
rect 10179 1261 10270 1379
rect -270 1219 10270 1261
rect -270 1101 -179 1219
rect -61 1101 10061 1219
rect 10179 1101 10270 1219
rect -270 1059 10270 1101
rect -270 941 -179 1059
rect -61 941 10061 1059
rect 10179 941 10270 1059
rect -270 899 10270 941
rect -270 781 -179 899
rect -61 781 10061 899
rect 10179 781 10270 899
rect -270 739 10270 781
rect -270 621 -179 739
rect -61 621 10061 739
rect 10179 621 10270 739
rect -270 579 10270 621
rect -270 461 -179 579
rect -61 461 10061 579
rect 10179 461 10270 579
rect -270 419 10270 461
rect -270 360 -179 419
tri -270 301 -211 360 ne
rect -211 301 -179 360
rect -61 301 10061 419
rect 10179 360 10270 419
rect 10179 301 10211 360
tri 10211 301 10270 360 nw
tri -211 259 -169 301 ne
rect -169 259 10169 301
tri 10169 259 10211 301 nw
tri -169 141 -51 259 ne
rect -51 141 -19 259
rect 99 141 9901 259
rect 10019 141 10051 259
tri 10051 141 10169 259 nw
tri -51 90 0 141 ne
rect 0 99 10000 141
rect 0 90 141 99
tri 0 0 90 90 ne
rect 90 0 141 90
tri 90 -19 109 0 ne
rect 109 -19 141 0
rect 259 -19 9741 99
rect 9859 90 10000 99
tri 10000 90 10051 141 nw
rect 9859 0 9910 90
tri 9910 0 10000 90 nw
rect 9859 -19 9891 0
tri 9891 -19 9910 0 nw
tri 109 -61 151 -19 ne
rect 151 -61 9849 -19
tri 9849 -61 9891 -19 nw
tri 151 -179 269 -61 ne
rect 269 -179 301 -61
rect 419 -179 461 -61
rect 579 -179 621 -61
rect 739 -179 781 -61
rect 899 -179 941 -61
rect 1059 -179 1101 -61
rect 1219 -179 1261 -61
rect 1379 -179 1421 -61
rect 1539 -179 1581 -61
rect 1699 -179 1741 -61
rect 1859 -179 1901 -61
rect 2019 -179 2061 -61
rect 2179 -179 2221 -61
rect 2339 -179 2381 -61
rect 2499 -179 2541 -61
rect 2659 -179 2701 -61
rect 2819 -179 2861 -61
rect 2979 -179 3021 -61
rect 3139 -179 3181 -61
rect 3299 -179 3341 -61
rect 3459 -179 3501 -61
rect 3619 -179 3661 -61
rect 3779 -179 3821 -61
rect 3939 -179 3981 -61
rect 4099 -179 4141 -61
rect 4259 -179 4301 -61
rect 4419 -179 4461 -61
rect 4579 -179 4621 -61
rect 4739 -179 4781 -61
rect 4899 -179 4941 -61
rect 5059 -179 5101 -61
rect 5219 -179 5261 -61
rect 5379 -179 5421 -61
rect 5539 -179 5581 -61
rect 5699 -179 5741 -61
rect 5859 -179 5901 -61
rect 6019 -179 6061 -61
rect 6179 -179 6221 -61
rect 6339 -179 6381 -61
rect 6499 -179 6541 -61
rect 6659 -179 6701 -61
rect 6819 -179 6861 -61
rect 6979 -179 7021 -61
rect 7139 -179 7181 -61
rect 7299 -179 7341 -61
rect 7459 -179 7501 -61
rect 7619 -179 7661 -61
rect 7779 -179 7821 -61
rect 7939 -179 7981 -61
rect 8099 -179 8141 -61
rect 8259 -179 8301 -61
rect 8419 -179 8461 -61
rect 8579 -179 8621 -61
rect 8739 -179 8781 -61
rect 8899 -179 8941 -61
rect 9059 -179 9101 -61
rect 9219 -179 9261 -61
rect 9379 -179 9421 -61
rect 9539 -179 9581 -61
rect 9699 -179 9731 -61
tri 9731 -179 9849 -61 nw
tri 269 -270 360 -179 ne
rect 360 -270 9640 -179
tri 9640 -270 9731 -179 nw
<< glass >>
tri 0 9505 495 10000 se
rect 495 9505 9505 10000
tri 9505 9505 10000 10000 sw
rect 0 495 10000 9505
tri 0 0 495 495 ne
rect 495 0 9505 495
tri 9505 0 10000 495 nw
<< labels >>
flabel metal5 s 5000 5000 5000 5000 0 FreeSans 10000 0 0 0 PAD
port 1 nsew
<< end >>
